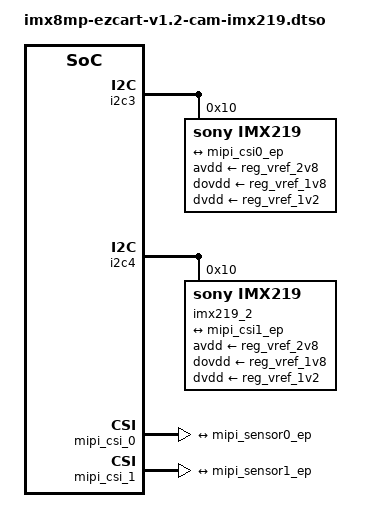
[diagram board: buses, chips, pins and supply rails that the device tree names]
// SPDX-License-Identifier: (GPL-2.0+ OR MIT)
/*
 * Camera overlay for Cartzy EzCart v1.2 - IMX219 dual-camera configuration.
 *
 * Two IMX219 sensors connected via FPD-Link III (DS90UB635 serializer
 * on the camera module, DS90UB638 deserializer on the carrier board).
 * Camera 1: i2c3 bus -> MIPI CSI-2 port 0
 * Camera 2: i2c4 bus -> MIPI CSI-2 port 1
 *
 * @author Nikita Bulaev agency@grovety.com
 */

/dts-v1/;
/plugin/;

#include "imx8mp-pinfunc.h"
#include <dt-bindings/gpio/gpio.h>

/* Camera reset GPIOs — flat pinctrl groups (must not be nested to avoid
 * triggering non-flat mode in imx_pinctrl_dt_is_flat_functions()).
 * Open-drain drive is encoded in the pad config value (0x030).
 */
&iomuxc {
    pinctrl_i2c3_imx219_mipi: i2c3-imx219-mipigrp {
        fsl,pins = <
#define GP_CAMERA1_RESET    <&gpio1 7 (GPIO_ACTIVE_HIGH | GPIO_OPEN_DRAIN)>
        MX8MP_IOMUXC_GPIO1_IO07__GPIO1_IO07    0x030
        >;
    };

    /* Camera 2 reset GPIO — open-drain output on GPIO1_IO14 */
    pinctrl_i2c4_imx219_mipi: i2c4-imx219-mipigrp {
        fsl,pins = <
#define GP_CAMERA2_RESET    <&gpio1 14 (GPIO_ACTIVE_HIGH | GPIO_OPEN_DRAIN)>
        MX8MP_IOMUXC_GPIO1_IO14__GPIO1_IO14    0x030
        >;
    };
};

/* IMX219 sensor — camera 1 (via DS90UB638/635 FPD-Link on i2c3) */
&i2c3 {
    #address-cells = <1>;
    #size-cells = <0>;

    imx219: imx219_mipi0@10 {
        avdd-supply = <&reg_vref_2v8>;
        dovdd-supply = <&reg_vref_1v8>;
        dvdd-supply = <&reg_vref_1v2>;

        compatible = "sony,imx219";
        reg = <0x10>;
        clocks = <&csi_mclk>;
        clock-names = "xvclk";

        csi_id = <0>;
        pinctrl-names = "default";
        pinctrl-0 = <&pinctrl_i2c3_imx219_mipi>;
        /* pwn-gpios = <&gpio5 3 GPIO_ACTIVE_HIGH>;        */ /* Not used, common with deserializer */
        rst-gpios = GP_CAMERA1_RESET;
        status = "okay";

        port {
            mipi_sensor0_ep: endpoint {
                remote-endpoint = <&mipi_csi0_ep>;
                data-lanes = <1 2>;
                clock-lanes = <0>;
                clock-noncontinuous;
                link-frequencies = /bits/ 64 <800000000>;

                max-lane-frequency = /bits/ 64 <800000000>;
                max-pixel-frequency = /bits/ 64 <266000000>;
            };
        };
    };
};

/* IMX219 sensor — camera 2 (via DS90UB638/635 FPD-Link on i2c4) */
&i2c4 {
    #address-cells = <1>;
    #size-cells = <0>;

    imx219_2: imx219_mipi1@10 {
        avdd-supply = <&reg_vref_2v8>;
        dovdd-supply = <&reg_vref_1v8>;
        dvdd-supply = <&reg_vref_1v2>;

        compatible = "sony,imx219";
        reg = <0x10>;
        clocks = <&csi_mclk>;
        clock-names = "xvclk";

        csi_id = <1>;
        pinctrl-names = "default";
        pinctrl-0 = <&pinctrl_i2c4_imx219_mipi>;
        /* pwn-gpios = <&gpio1 15 GPIO_ACTIVE_HIGH>; */ /* Not used, common with deserializer */
        rst-gpios = GP_CAMERA2_RESET;
        status = "okay";

        port {
            mipi_sensor1_ep: endpoint {
                remote-endpoint = <&mipi_csi1_ep>;
                data-lanes = <1 2>;
                clock-lanes = <0>;
                clock-noncontinuous;
                link-frequencies = /bits/ 64 <800000000>;

                max-lane-frequency = /bits/ 64 <800000000>;
                max-pixel-frequency = /bits/ 64 <266000000>;
            };
        };
    };
};

&mipi_csi_0 {
    #address-cells = <1>;
    #size-cells = <0>;
    status = "okay";

    port@0 {
        reg = <0>;

        mipi_csi0_ep: endpoint {
            csis-hs-settle = <13>;
            csis-clk-settle = <2>;
            csis-wclk;
            data-lanes = <2>;
            remote-endpoint = <&mipi_sensor0_ep>;
        };
    };
};

&mipi_csi_1 {
    #address-cells = <1>;
    #size-cells = <0>;
    status = "okay";

    port@1 {
        reg = <1>;

        mipi_csi1_ep: endpoint {
            csis-hs-settle = <13>;
            csis-clk-settle = <2>;
            csis-wclk;
            data-lanes = <2>;
            remote-endpoint = <&mipi_sensor1_ep>;
        };
    };
};
